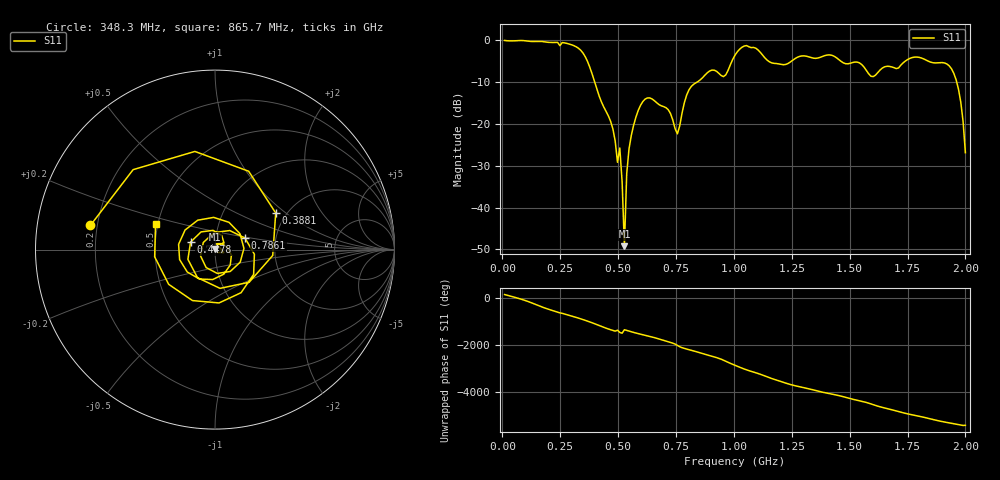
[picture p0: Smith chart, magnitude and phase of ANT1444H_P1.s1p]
!Created with skrf (http://scikit-rf.org).
# Hz S RI R 50.0
!freq ReS11 ImS11
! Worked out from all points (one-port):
!   201 points, 10 MHz to 2 GHz, reference 50 ohm
!   lowest |S11| = -49.2 dB at 527.4 MHz (marker M1), VSWR 1.01, Z = 50 + j0.344 ohm
!   |S11| at or under -10 dB: 399.1 MHz to 840.7 MHz (441.5 MHz wide, 71.2 % of centre); 1.963 GHz to end of sweep
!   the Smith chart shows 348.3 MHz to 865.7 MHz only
!   S11 on the Smith chart (normalised r, x): 348.3 MHz: 0.17, +0.09; 388.1 MHz: 1.76, +0.85; 447.8 MHz: 0.76, +0.06; 786.1 MHz: 1.39, +0.18; 865.7 MHz: 0.49, +0.16
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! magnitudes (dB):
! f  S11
! 10 MHz  0.0
! 258.8 MHz  -0.5
! 348.3 MHz  -3.0
! 388.1 MHz  -8.1
! 447.8 MHz  -16.9
! 477.6 MHz  -21.2
! 497.6 MHz  -29.2
! 507.5 MHz  -25.7
! 517.5 MHz  -33.8
! 527.4 MHz  -49.2
! 537.4 MHz  -31.9
! 547.3 MHz  -25.9
! 597 MHz  -15.5
! 706.5 MHz  -16.1
! 756.2 MHz  -22.4
! 786.1 MHz  -14.9
! 865.7 MHz  -8.9
! 955.2 MHz  -8.7
! 1.005 GHz  -3.5
! 1.055 GHz  -1.2
! 1.164 GHz  -5.4
! 1.254 GHz  -4.8
! 1.502 GHz  -5.5
! 1.602 GHz  -8.7
! 1.751 GHz  -4.6
! 1.94 GHz  -6.8
! 1.98 GHz  -14.8
! 2 GHz  -26.9
